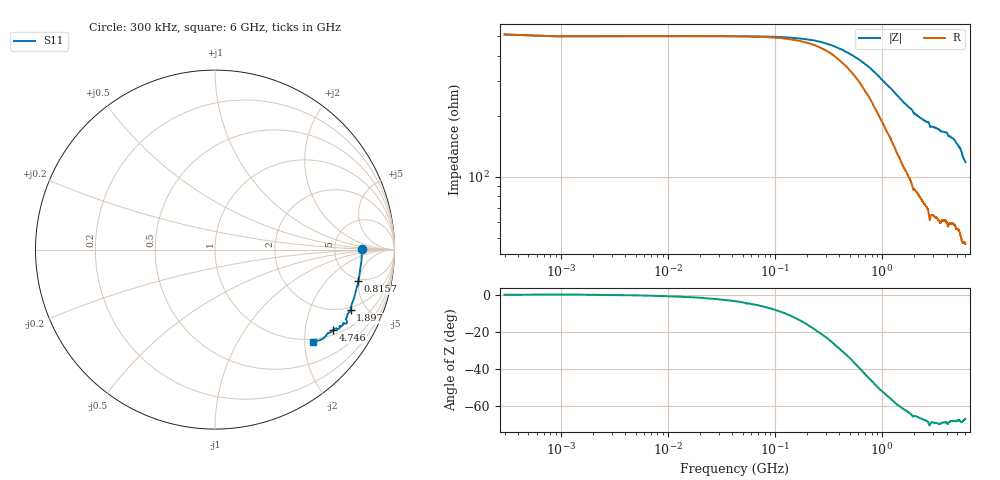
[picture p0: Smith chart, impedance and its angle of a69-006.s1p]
!  3/12/2021  07:43:00
! Ref Plane: 23.990 mm
# MHZ S MA R  50
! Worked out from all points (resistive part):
!   10001 points, 300 kHz to 6 GHz, reference 50 ohm
!   read as one part to ground: R = 499 ohm at 30.3 MHz
!   S11 on the Smith chart (normalised r, x): 300 kHz: 10, +0; 815.7 MHz: 4.63, -4.92; 1.897 GHz: 1.84, -3.89; 4.746 GHz: 1.15, -2.82; 6 GHz: 0.93, -2.17
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0.3  0.821 0.0
385.4807  0.8169 -6.2
750.2625  0.8179 -11.5
815.6592  0.8176 -12.4
1098.845  0.8178 -16.1
1500.225  0.8203 -20.6
1896.805  0.8264 -23.9
1968.802  0.8254 -24.9
2250.188  0.8233 -26.4
2679.766  0.8295 -28.2
2751.162  0.8388 -28.7
2800.36  0.835 -29.7
2853.157  0.8258 -29.8
3000.15  0.825 -29.8
3435.128  0.826 -30.8
3514.924  0.8238 -31.3
3750.113  0.8169 -31.5
4008.1  0.8161 -31.8
4071.696  0.8203 -32.0
4129.894  0.8173 -32.8
4194.69  0.8097 -33.0
4500.075  0.8007 -33.5
4746.063  0.7971 -34.2
5250.038  0.7824 -36.9
5459.427  0.7822 -38.5
5670.617  0.7709 -41.0
5764.212  0.7613 -41.8
6000  0.7482 -43.5
